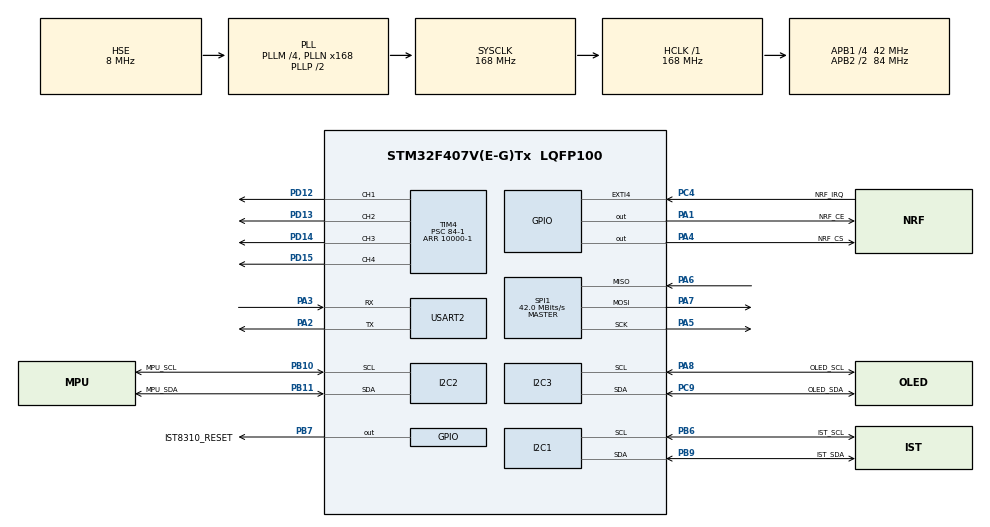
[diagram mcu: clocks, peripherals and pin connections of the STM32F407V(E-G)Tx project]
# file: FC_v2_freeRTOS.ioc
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Dma.Request0=USART2_RX
Dma.Request1=SPI1_RX
Dma.SPI1_RX.1.Direction=DMA_PERIPH_TO_MEMORY
Dma.SPI1_RX.1.FIFOMode=DMA_FIFOMODE_DISABLE
Dma.SPI1_RX.1.Instance=DMA2_Stream0
Dma.SPI1_RX.1.MemDataAlignment=DMA_MDATAALIGN_BYTE
Dma.SPI1_RX.1.MemInc=DMA_MINC_ENABLE
Dma.SPI1_RX.1.Mode=DMA_NORMAL
Dma.SPI1_RX.1.PeriphDataAlignment=DMA_PDATAALIGN_BYTE
Dma.SPI1_RX.1.PeriphInc=DMA_PINC_DISABLE
Dma.SPI1_RX.1.Priority=DMA_PRIORITY_LOW
Dma.USART2_RX.0.Direction=DMA_PERIPH_TO_MEMORY
Dma.USART2_RX.0.FIFOMode=DMA_FIFOMODE_DISABLE
Dma.USART2_RX.0.Instance=DMA1_Stream5
Dma.USART2_RX.0.MemDataAlignment=DMA_MDATAALIGN_BYTE
Dma.USART2_RX.0.MemInc=DMA_MINC_ENABLE
Dma.USART2_RX.0.Mode=DMA_NORMAL
Dma.USART2_RX.0.PeriphDataAlignment=DMA_PDATAALIGN_BYTE
Dma.USART2_RX.0.PeriphInc=DMA_PINC_DISABLE
Dma.USART2_RX.0.Priority=DMA_PRIORITY_HIGH
FREERTOS.Mutexes01=xRemoteDataMutex,Dynamic,NULL,Depleted
FREERTOS.Queues01=xSensorDataQueue,1,SensorData_t,0,Dynamic,NULL,NULL;xAttitudeDataQueue,1,AttitudeData_t,0,Dynamic,NULL,NULL;xRemoteDataQueue,1,RemoteData_t,0,Dynamic,NULL,NULL;xTelemetryDataQueue,1,TelemetryData_t,0,Dynamic,NULL,NULL
FREERTOS.Tasks01=xSensorTask,25,256,xSensorTaskFunction,Default,NULL,Dynamic,NULL,NULL;xAttitudeTask,24,1024,xAttitudeTaskFunction,Default,NULL,Dynamic,NULL,NULL;xControlTask,23,1024,xControlTaskFunction,Default,NULL,Dynamic,NULL,NULL;xUartTxTask,22,512,xUartTxTaskFunction,Default,NULL,Dynamic,NULL,NULL;xRemoteTask,26,512,xRemoteTaskFunction,Default,NULL,Dynamic,NULL,NULL;xNrfReceiveTask,26,512,xNrfReceiveTaskFunction,Default,NULL,Dynamic,NULL,NULL
FREERTOS.configENABLE_FPU=1
FREERTOS.configTOTAL_HEAP_SIZE=20480
I2C1.I2C_Mode=I2C_Fast
I2C2.I2C_Mode=I2C_Fast
I2C3.I2C_Mode=I2C_Fast
Mcu.Family=STM32F4
Mcu.Name=STM32F407V(E-G)Tx
Mcu.Package=LQFP100
Mcu.UserConstants=ESC_PWM,$$_TIM4_IP_HANDLE_$$
NVIC.DMA1_Stream5_IRQn=true\:5\:0\:true\:false\:true\:true\:false\:true\:true
NVIC.DMA2_Stream0_IRQn=true\:5\:0\:false\:false\:true\:true\:false\:true\:true
NVIC.EXTI4_IRQn=true\:5\:0\:false\:false\:true\:true\:true\:true\:true
NVIC.PriorityGroup=NVIC_PRIORITYGROUP_4
NVIC.TIM1_UP_TIM10_IRQn=true\:15\:0\:false\:false\:true\:false\:false\:true\:true
NVIC.TimeBase=TIM1_UP_TIM10_IRQn
NVIC.TimeBaseIP=TIM1
NVIC.USART2_IRQn=true\:5\:0\:false\:false\:true\:true\:true\:true\:true
PA1.GPIO_Label=NRF_CE
PA1.GPIO_ModeDefaultOutputPP=GPIO_MODE_OUTPUT_PP
PA1.GPIO_PuPd=GPIO_PULLUP
PA1.GPIO_Speed=GPIO_SPEED_FREQ_VERY_HIGH
PA1.PinState=GPIO_PIN_SET
PA1.Signal=GPIO_Output
PA13.Mode=Serial_Wire
PA13.Signal=SYS_JTMS-SWDIO
PA14.Mode=Serial_Wire
PA14.Signal=SYS_JTCK-SWCLK
PA2.Mode=Asynchronous
PA2.Signal=USART2_TX
PA3.Mode=Asynchronous
PA3.Signal=USART2_RX
PA4.GPIO_Label=NRF_CS
PA4.GPIO_ModeDefaultOutputPP=GPIO_MODE_OUTPUT_PP
PA4.GPIO_PuPd=GPIO_PULLUP
PA4.GPIO_Speed=GPIO_SPEED_FREQ_VERY_HIGH
PA4.PinState=GPIO_PIN_SET
PA4.Signal=GPIO_Output
PA5.Mode=Full_Duplex_Master
PA5.Signal=SPI1_SCK
PA6.Mode=Full_Duplex_Master
PA6.Signal=SPI1_MISO
PA7.Mode=Full_Duplex_Master
PA7.Signal=SPI1_MOSI
PA8.GPIO_Label=OLED_SCL
PA8.GPIO_Pu=GPIO_PULLUP
PA8.Mode=I2C
PA8.Signal=I2C3_SCL
PB10.GPIO_Label=MPU_SCL
PB10.GPIO_Pu=GPIO_PULLUP
PB10.Mode=I2C
PB10.Signal=I2C2_SCL
PB11.GPIO_Label=MPU_SDA
PB11.GPIO_Pu=GPIO_PULLUP
PB11.GPIO_Speed=GPIO_SPEED_FREQ_VERY_HIGH
PB11.Mode=I2C
PB11.Signal=I2C2_SDA
PB6.GPIO_Label=IST_SCL
PB6.GPIO_Pu=GPIO_PULLUP
PB6.Mode=I2C
PB6.Signal=I2C1_SCL
PB7.GPIO_Label=IST8310_RESET
PB7.GPIO_PuPd=GPIO_PULLUP
PB7.GPIO_Speed=GPIO_SPEED_FREQ_VERY_HIGH
PB7.PinState=GPIO_PIN_SET
PB7.Signal=GPIO_Output
PB9.GPIO_Label=IST_SDA
PB9.GPIO_Pu=GPIO_PULLUP
PB9.Mode=I2C
PB9.Signal=I2C1_SDA
PC4.GPIO_Label=NRF_IRQ
PC4.GPIO_ModeDefaultEXTI=GPIO_MODE_IT_FALLING
PC4.GPIO_PuPd=GPIO_PULLUP
PC4.Signal=GPXTI4
PC9.GPIO_Label=OLED_SDA
PC9.GPIO_Pu=GPIO_PULLUP
PC9.Mode=I2C
PC9.Signal=I2C3_SDA
PD12.Signal=S_TIM4_CH1
PD13.Signal=S_TIM4_CH2
PD14.Signal=S_TIM4_CH3
PD15.Signal=S_TIM4_CH4
PH0-OSC_IN.Mode=HSE-External-Oscillator
PH0-OSC_IN.Signal=RCC_OSC_IN
PH1-OSC_OUT.Mode=HSE-External-Oscillator
PH1-OSC_OUT.Signal=RCC_OSC_OUT
ProjectManager.HeapSize=0x200
ProjectManager.StackSize=0x400
ProjectManager.TargetToolchain=CMake
RCC.48MHZClocksFreq_Value=84000000
RCC.AHBFreq_Value=168000000
RCC.APB1CLKDivider=RCC_HCLK_DIV4
RCC.APB1Freq_Value=42000000
RCC.APB1TimFreq_Value=84000000
RCC.APB2CLKDivider=RCC_HCLK_DIV2
RCC.APB2Freq_Value=84000000
RCC.APB2TimFreq_Value=168000000
RCC.CortexFreq_Value=168000000
RCC.HCLKFreq_Value=168000000
RCC.HSE_VALUE=8000000
RCC.HSI_VALUE=16000000
RCC.LSE_VALUE=32768
RCC.PLLM=4
RCC.PLLN=168
RCC.PLLSourceVirtual=RCC_PLLSOURCE_HSE
RCC.SYSCLKFreq_VALUE=168000000
RCC.SYSCLKSource=RCC_SYSCLKSOURCE_PLLCLK
RCC.VCOOutputFreq_Value=336000000
SH.S_TIM4_CH1.0=TIM4_CH1,PWM Generation1 CH1
SH.S_TIM4_CH2.0=TIM4_CH2,PWM Generation2 CH2
SH.S_TIM4_CH3.0=TIM4_CH3,PWM Generation3 CH3
SH.S_TIM4_CH4.0=TIM4_CH4,PWM Generation4 CH4
SPI1.BaudRatePrescaler=SPI_BAUDRATEPRESCALER_2
SPI1.CalculateBaudRate=42.0 MBits/s
SPI1.Direction=SPI_DIRECTION_2LINES
SPI1.Mode=SPI_MODE_MASTER
SPI1.VirtualType=VM_MASTER
TIM4.AutoReloadPreload=TIM_AUTORELOAD_PRELOAD_ENABLE
TIM4.Channel-PWM\ Generation1\ CH1=TIM_CHANNEL_1
TIM4.Channel-PWM\ Generation2\ CH2=TIM_CHANNEL_2
TIM4.Channel-PWM\ Generation3\ CH3=TIM_CHANNEL_3
TIM4.Channel-PWM\ Generation4\ CH4=TIM_CHANNEL_4
TIM4.Period=10000-1
TIM4.Prescaler=84-1
TIM4.TIM_MasterOutputTrigger=TIM_TRGO_UPDATE
TIM4.TIM_MasterSlaveMode=TIM_MASTERSLAVEMODE_ENABLE
USART2.VirtualMode=VM_ASYNC
VP_FREERTOS_VS_CMSIS_V2.Mode=CMSIS_V2
VP_SYS_VS_tim1.Mode=TIM1
VP_TIM4_VS_ClockSourceINT.Mode=Internal
board=custom

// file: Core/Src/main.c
/* USER CODE BEGIN Header */
/**
 ******************************************************************************
 * @file           : main.c
 * @brief          : Main program body
 ******************************************************************************
 * @attention
 *
 * Copyright (c) 2025 STMicroelectronics.
 * All rights reserved.
 *
 * This software is licensed under terms that can be found in the LICENSE file
 * in the root directory of this software component.
 * If no LICENSE file comes with this software, it is provided AS-IS.
 *
 ******************************************************************************
 */
/* USER CODE END Header */
#include "main.h"
#include "cmsis_os.h"
#include "dma.h"
#include "i2c.h"
#include "spi.h"
#include "tim.h"
#include "usart.h"
#include "gpio.h"

/* USER CODE BEGIN Includes */
#include "fc_sys.h"
/* USER CODE END Includes */

void SystemClock_Config(void);
void MX_FREERTOS_Init(void);

int main(void)
{

  /* MCU Configuration--------------------------------------------------------*/

  /* Reset of all peripherals, Initializes the Flash interface and the Systick. */
  HAL_Init();

  /* Configure the system clock */
  SystemClock_Config();

  /* Initialize all configured peripherals */
  MX_GPIO_Init();
  MX_DMA_Init();
  MX_I2C2_Init();
  MX_USART2_UART_Init();
  MX_I2C1_Init();
  MX_I2C3_Init();
  MX_TIM4_Init();
  MX_SPI1_Init();
  /* USER CODE BEGIN 2 */
  FCSysInit();
  MotorUnLock(); // 直接解锁
  /* USER CODE END 2 */

  /* Init scheduler */
  osKernelInitialize();

  /* Call init function for freertos objects (in cmsis_os2.c) */
  MX_FREERTOS_Init();

  /* Start scheduler */
  osKernelStart();

  /* We should never get here as control is now taken by the scheduler */

  /* Infinite loop */
  while (1) {

  }
}

void SystemClock_Config(void)
{
  RCC_OscInitTypeDef RCC_OscInitStruct = {0};
  RCC_ClkInitTypeDef RCC_ClkInitStruct = {0};

  /** Configure the main internal regulator output voltage
  */
  __HAL_RCC_PWR_CLK_ENABLE();
  __HAL_PWR_VOLTAGESCALING_CONFIG(PWR_REGULATOR_VOLTAGE_SCALE1);

  /** Initializes the RCC Oscillators according to the specified parameters
  * in the RCC_OscInitTypeDef structure.
  */
  RCC_OscInitStruct.OscillatorType = RCC_OSCILLATORTYPE_HSE;
  RCC_OscInitStruct.HSEState = RCC_HSE_ON;
  RCC_OscInitStruct.PLL.PLLState = RCC_PLL_ON;
  RCC_OscInitStruct.PLL.PLLSource = RCC_PLLSOURCE_HSE;
  RCC_OscInitStruct.PLL.PLLM = 4;
  RCC_OscInitStruct.PLL.PLLN = 168;
  RCC_OscInitStruct.PLL.PLLP = RCC_PLLP_DIV2;
  RCC_OscInitStruct.PLL.PLLQ = 4;
  if (HAL_RCC_OscConfig(&RCC_OscInitStruct) != HAL_OK)
  {
    Error_Handler();
  }

  /** Initializes the CPU, AHB and APB buses clocks
  */
  RCC_ClkInitStruct.ClockType = RCC_CLOCKTYPE_HCLK|RCC_CLOCKTYPE_SYSCLK
                              |RCC_CLOCKTYPE_PCLK1|RCC_CLOCKTYPE_PCLK2;
  RCC_ClkInitStruct.SYSCLKSource = RCC_SYSCLKSOURCE_PLLCLK;
  RCC_ClkInitStruct.AHBCLKDivider = RCC_SYSCLK_DIV1;
  RCC_ClkInitStruct.APB1CLKDivider = RCC_HCLK_DIV4;
  RCC_ClkInitStruct.APB2CLKDivider = RCC_HCLK_DIV2;

  if (HAL_RCC_ClockConfig(&RCC_ClkInitStruct, FLASH_LATENCY_5) != HAL_OK)
  {
    Error_Handler();
  }
}

void HAL_TIM_PeriodElapsedCallback(TIM_HandleTypeDef *htim)
{
  if (htim->Instance == TIM1) {
    HAL_IncTick();
  }
}

void Error_Handler(void)
{
  __disable_irq();
  while (1) {
  }
}

#ifdef  USE_FULL_ASSERT
/**
  * @brief  Reports the name of the source file and the source line number
  *         where the assert_param error has occurred.
  * @param  file: pointer to the source file name
  * @param  line: assert_param error line source number
  * @retval None
  */
void assert_failed(uint8_t *file, uint32_t line)
{
  /* USER CODE BEGIN 6 */
  /* User can add his own implementation to report the file name and line
     number, ex: printf("Wrong parameters value: file %s on line %d\r\n", file,
     line) */
  /* USER CODE END 6 */
}
#endif /* USE_FULL_ASSERT */

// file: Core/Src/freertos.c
/* USER CODE BEGIN Header */
/**
 ******************************************************************************
 * File Name          : freertos.c
 * Description        : Code for freertos applications
 ******************************************************************************
 * @attention
 *
 * Copyright (c) 2025 STMicroelectronics.
 * All rights reserved.
 *
 * This software is licensed under terms that can be found in the LICENSE file
 * in the root directory of this software component.
 * If no LICENSE file comes with this software, it is provided AS-IS.
 *
 ******************************************************************************
 */
/* USER CODE END Header */

#include "FreeRTOS.h"
#include "cmsis_os.h"
#include "main.h"
#include "task.h"

/* USER CODE BEGIN Includes */
#include "fc_sys.h"
#include "queue.h"
#include "usart.h"
#include "vofa.h"
/* USER CODE END Includes */

/* USER CODE BEGIN PD */
#define REMOTE_NRF // 指定遥控设备REMOTE_NRF/REMOTE_UART
/* USER CODE END PD */

/* Definitions for xSensorTask */
osThreadId_t xSensorTaskHandle;
const osThreadAttr_t xSensorTask_attributes = {
    .name = "xSensorTask",
    .stack_size = 256 * 4,
    .priority = (osPriority_t)osPriorityNormal1,
};
/* Definitions for xAttitudeTask */
osThreadId_t xAttitudeTaskHandle;
const osThreadAttr_t xAttitudeTask_attributes = {
    .name = "xAttitudeTask",
    .stack_size = 1024 * 4,
    .priority = (osPriority_t)osPriorityNormal,
};
/* Definitions for xControlTask */
osThreadId_t xControlTaskHandle;
const osThreadAttr_t xControlTask_attributes = {
    .name = "xControlTask",
    .stack_size = 1024 * 4,
    .priority = (osPriority_t)osPriorityBelowNormal7,
};
/* Definitions for xUartTxTask */
osThreadId_t xUartTxTaskHandle;
const osThreadAttr_t xUartTxTask_attributes = {
    .name = "xUartTxTask",
    .stack_size = 512 * 4,
    .priority = (osPriority_t)osPriorityBelowNormal6,
};
/* Definitions for xRemoteTask */
osThreadId_t xRemoteTaskHandle;
const osThreadAttr_t xRemoteTask_attributes = {
    .name = "xRemoteTask",
    .stack_size = 512 * 4,
    .priority = (osPriority_t)osPriorityNormal2,
};
/* Definitions for xNrfReceiveTask */
osThreadId_t xNrfReceiveTaskHandle;
const osThreadAttr_t xNrfReceiveTask_attributes = {
    .name = "xNrfReceiveTask",
    .stack_size = 512 * 4,
    .priority = (osPriority_t)osPriorityNormal2,
};
/* Definitions for xSensorDataQueue */
osMessageQueueId_t xSensorDataQueueHandle;
const osMessageQueueAttr_t xSensorDataQueue_attributes = {
    .name = "xSensorDataQueue"};
/* Definitions for xAttitudeDataQueue */
osMessageQueueId_t xAttitudeDataQueueHandle;
const osMessageQueueAttr_t xAttitudeDataQueue_attributes = {
    .name = "xAttitudeDataQueue"};
/* Definitions for xRemoteDataQueue */
osMessageQueueId_t xRemoteDataQueueHandle;
const osMessageQueueAttr_t xRemoteDataQueue_attributes = {
    .name = "xRemoteDataQueue"};
/* Definitions for xTelemetryDataQueue */
osMessageQueueId_t xTelemetryDataQueueHandle;
const osMessageQueueAttr_t xTelemetryDataQueue_attributes = {
    .name = "xTelemetryDataQueue"};
/* Definitions for xRemoteDataMutex */
osMutexId_t xRemoteDataMutexHandle;
const osMutexAttr_t xRemoteDataMutex_attributes = {.name = "xRemoteDataMutex"};

void xSensorTaskFunction(void *argument);
void xAttitudeTaskFunction(void *argument);
void xControlTaskFunction(void *argument);
void xUartTxTaskFunction(void *argument);
void xRemoteTaskFunction(void *argument);
void xNrfReceiveTaskFunction(void *argument);

void MX_FREERTOS_Init(void); /* (MISRA C 2004 rule 8.1) */

void MX_FREERTOS_Init(void) {
  /* Create the mutex(es) */
  /* creation of xRemoteDataMutex */
  xRemoteDataMutexHandle = osMutexNew(&xRemoteDataMutex_attributes);

  /* Create the queue(s) */
  /* creation of xSensorDataQueue */
  xSensorDataQueueHandle =
      osMessageQueueNew(1, sizeof(SensorData_t), &xSensorDataQueue_attributes);

  /* creation of xAttitudeDataQueue */
  xAttitudeDataQueueHandle = osMessageQueueNew(1, sizeof(AttitudeData_t),
                                               &xAttitudeDataQueue_attributes);

  /* creation of xRemoteDataQueue */
  xRemoteDataQueueHandle =
      osMessageQueueNew(1, sizeof(RemoteData_t), &xRemoteDataQueue_attributes);

  /* creation of xTelemetryDataQueue */
  xTelemetryDataQueueHandle = osMessageQueueNew(
      1, sizeof(TelemetryData_t), &xTelemetryDataQueue_attributes);

  /* Create the thread(s) */
  /* creation of xSensorTask */
  xSensorTaskHandle =
      osThreadNew(xSensorTaskFunction, NULL, &xSensorTask_attributes);

  /* creation of xAttitudeTask */
  xAttitudeTaskHandle =
      osThreadNew(xAttitudeTaskFunction, NULL, &xAttitudeTask_attributes);

  /* creation of xControlTask */
  xControlTaskHandle =
      osThreadNew(xControlTaskFunction, NULL, &xControlTask_attributes);

  /* creation of xUartTxTask */
  xUartTxTaskHandle =
      osThreadNew(xUartTxTaskFunction, NULL, &xUartTxTask_attributes);

  /* creation of xRemoteTask */
  xRemoteTaskHandle =
      osThreadNew(xRemoteTaskFunction, NULL, &xRemoteTask_attributes);

  /* creation of xNrfReceiveTask */
  xNrfReceiveTaskHandle =
      osThreadNew(xNrfReceiveTaskFunction, NULL, &xNrfReceiveTask_attributes);

}

void xSensorTaskFunction(void *argument) {
  /* USER CODE BEGIN xSensorTaskFunction */
  const TickType_t xDelay = pdMS_TO_TICKS(2); // 2ms周期
  /* Infinite loop */
  for (;;) {
    task_SensorGetData();
    xQueueOverwrite(xSensorDataQueueHandle, &sensorData);
    vTaskDelay(xDelay);
  }
  /* USER CODE END xSensorTaskFunction */
}

void xAttitudeTaskFunction(void *argument) {
  /* USER CODE BEGIN xAttitudeTaskFunction */
  /* Infinite loop */
  for (;;) {
    if (xQueueReceive(xSensorDataQueueHandle, &sensorData, portMAX_DELAY) ==
        pdPASS) {

      task_CalPosture(125);

      // 继承传感器数据
      attitudeData.sensordata = sensorData;
      // 写入队列
      xQueueOverwrite(xAttitudeDataQueueHandle, &attitudeData);
    }
  }
  /* USER CODE END xAttitudeTaskFunction */
}

void xControlTaskFunction(void *argument) {
  /* USER CODE BEGIN xControlTaskFunction */
  TickType_t pidTimeStampLast = xTaskGetTickCount(); // 获取系统节拍数，1节拍/ms
  float pidDT = 0;
  /* Infinite loop */
  for (;;) {
    // 等待姿态数据
    if (xQueueReceive(xAttitudeDataQueueHandle, &attitudeData, portMAX_DELAY) ==
        pdPASS) {

      // 翻转停机
      if ((attitudeData.mahony_pitch > 45 || attitudeData.mahony_pitch < -45) ||
          (attitudeData.mahony_roll > 45 || attitudeData.mahony_roll < -45)) {
        MotorSet(0, 0, 0, 0);
      } else {
        // 计算实际间隔时间dt
        pidDT = (xTaskGetTickCount() - pidTimeStampLast) / 1000.0f;

        // 获取锁
        if (osMutexAcquire(xRemoteDataMutexHandle, 10) == 0) {

          // 控制任务
          task_Control(pidDT);

          // 释放锁
          osMutexRelease(xRemoteDataMutexHandle);
        }

        // 更新旧值
        pidTimeStampLast = xTaskGetTickCount();
      }

      // 继承当前数据
      telemetryData.attitude = attitudeData;
      telemetryData.remote = remoteData;
      // 打包数据放入回传队列
      xQueueOverwrite(xTelemetryDataQueueHandle, &telemetryData);
    }
  }
  /* USER CODE END xControlTaskFunction */
}

void xUartTxTaskFunction(void *argument) {
  /* USER CODE BEGIN xUartTxTaskFunction */
  /* Infinite loop */
  for (;;) {
    // 回传数据队列接收数据
    if (xQueueReceive(xTelemetryDataQueueHandle, &telemetryData,
                      portMAX_DELAY) == pdPASS) {
      task_VofaTx();
    }
  }
  /* USER CODE END xUartTxTaskFunction */
}

void xRemoteTaskFunction(void *argument) {
  /* USER CODE BEGIN xRemoteTaskFunction */
  /* Infinite loop */
  // 等待中断的通知，并判断该解析任务优先级是否高于当前运行任务优先级
  ulTaskNotifyTake(pdTRUE, portMAX_DELAY);

  // 等待锁。因为赋值和读取均操作同一个变量。释放了才能修改
  if (osMutexAcquire(xRemoteDataMutexHandle, portMAX_DELAY)) {
    // 串口dma接收后开始对原始数据解码。解码后的数据直接传入remoteData
    task_VofaRxDecode();

    // 解锁
    osMutexRelease(xRemoteDataMutexHandle);
  }

  // 控制数据装入队列
  xQueueOverwrite(xRemoteDataQueueHandle, &remoteData);

  // 重新开启接收中断
  HAL_UART_Receive_DMA(&huart2, rxVofaBuff, 6);
  /* USER CODE END xRemoteTaskFunction */
}

void xNrfReceiveTaskFunction(void *argument) {
  /* USER CODE BEGIN xNrfReceiveTaskFunction */
  /* Infinite loop */
  for (;;) {
    // 等待中断的通知，并判断该解析任务优先级是否高于当前运行任务优先级
    ulTaskNotifyTake(pdTRUE, portMAX_DELAY);

    // 等待锁。因为赋值和读取均操作同一个变量。释放了才能修改
    if (osMutexAcquire(xRemoteDataMutexHandle, portMAX_DELAY)) {

      // 查看是否接收数据并转移
      task_NrfLoadData();

      // 解锁
      osMutexRelease(xRemoteDataMutexHandle);
    }

    // 控制数据装入队列
    xQueueOverwrite(xRemoteDataQueueHandle, &remoteData);
  }
  /* USER CODE END xNrfReceiveTaskFunction */
}

/* USER CODE BEGIN Application */

#ifdef REMOTE_UART
/*串口dma接收中断*/
void HAL_UART_RxCpltCallback(UART_HandleTypeDef *huart) {
  if (huart->Instance == USART2) {
    BaseType_t xHigherPriorityTaskWoken = pdFALSE;
    // 通知解码任务
    vTaskNotifyGiveFromISR(xRemoteTaskHandle, &xHigherPriorityTaskWoken);
  }
}
#elif defined(REMOTE_NRF)
/*gpio外部中断*/
void HAL_GPIO_EXTI_Callback(uint16_t GPIO_Pin) {
  if (GPIO_Pin == NRF_IRQ_Pin) {
    BaseType_t xHigherPriorityTaskWoken = pdFALSE;
    // 通知解码任务
    vTaskNotifyGiveFromISR(xNrfReceiveTaskHandle, &xHigherPriorityTaskWoken);
  }
}
#endif

/* USER CODE END Application */
